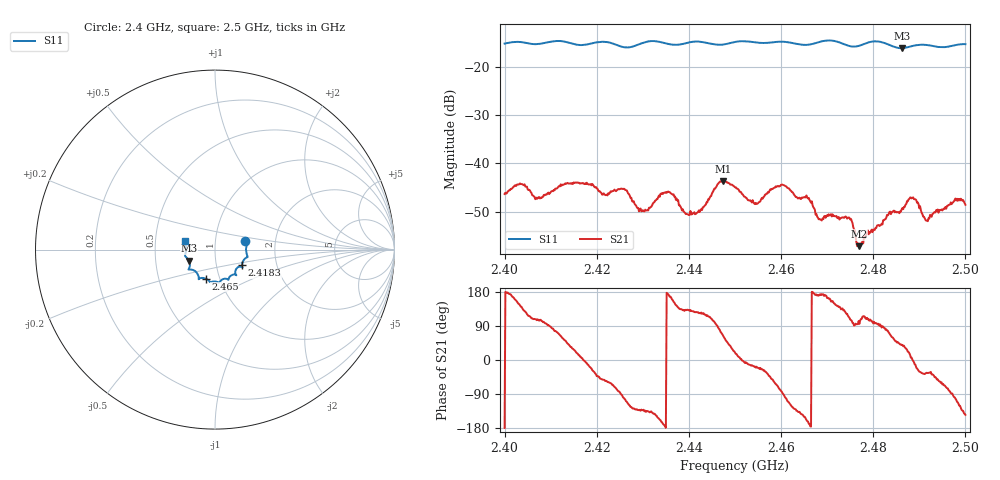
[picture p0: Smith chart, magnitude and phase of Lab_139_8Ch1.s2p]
# Hz S RI R 50
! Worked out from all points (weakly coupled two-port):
!   601 points, 2.4 GHz to 2.5 GHz, reference 50 ohm
!   highest |S21| = -43.67 dB at 2.4473 GHz (marker M1); lowest = -57.2 dB at 2.4768 GHz (marker M2)
!   lowest |S11| = -16.1 dB at 2.4863 GHz (marker M3), VSWR 1.37, Z = 37.1 - j4.69 ohm
!   |S11| at or under -10 dB: start of sweep to end of sweep
!   S12 and S22 are empty: the file has one direction only
!   S11 on the Smith chart (normalised r, x): 2.4 GHz: 1.40, +0.14; 2.4183 GHz: 1.33, -0.24; 2.465 GHz: 0.86, -0.28; 2.5 GHz: 0.71, +0.07
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2.4e9  0.1687 0.0471  -0.00481 -5.54e-05  0 0  0 0
2.416667e9  0.1546 -0.0682  0.0062 0.000598  0 0  0 0
2.418333e9  0.1502 -0.0868  0.00579 -0.00169  0 0  0 0
2.426e9  0.1253 -0.0999  -0.00111 -0.00532  0 0  0 0
2.429667e9  0.1134 -0.1344  -0.00208 -0.0024  0 0  0 0
2.433333e9  0.1176 -0.1409  -0.00398 -0.00203  0 0  0 0
2.435833e9  0.1018 -0.1392  -0.0049 0.00113  0 0  0 0
2.441e9  0.075 -0.1673  -0.00189 0.00237  0 0  0 0
2.447333e9  0.0415 -0.1659  0.00264 0.006  0 0  0 0
2.45e9  0.0262 -0.1804  0.00531 0.00191  0 0  0 0
2.4545e9  0.0112 -0.1798  0.00366 -0.00133  0 0  0 0
2.460167e9  -0.0272 -0.1813  0.000622 -0.00601  0 0  0 0
2.465e9  -0.0524 -0.1615  -0.00387 -0.00223  0 0  0 0
2.466667e9  -0.0714 -0.1577  -0.00404 6.1e-06  0 0  0 0
2.468333e9  -0.0859 -0.161  -0.00261 0.000359  0 0  0 0
2.475e9  -0.101 -0.13  -0.000765 0.0025  0 0  0 0
2.476833e9  -0.1196 -0.1146  -0.000309 0.00135  0 0  0 0
2.483333e9  -0.1412 -0.0965  0.000879 0.00283  0 0  0 0
2.486333e9  -0.1445 -0.0615  0.00264 0.0022  0 0  0 0
2.488667e9  -0.1605 -0.0425  0.00443 -0.000205  0 0  0 0
2.491667e9  -0.1665 -0.0307  0.00211 -0.00142  0 0  0 0
2.5e9  -0.1664 0.0467  -0.00304 -0.00215  0 0  0 0
